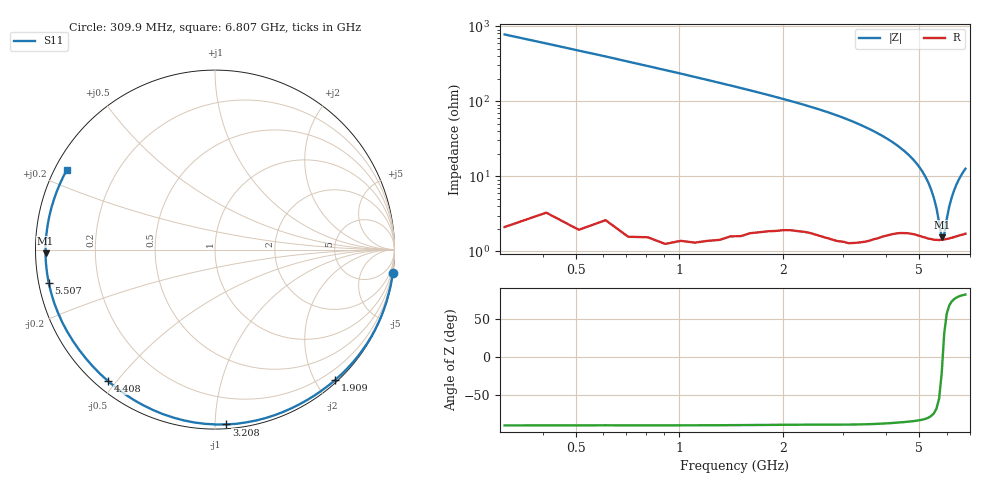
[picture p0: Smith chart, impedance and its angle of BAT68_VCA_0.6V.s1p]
! Infineon Technologies  Discrete & RF Semiconductors
! BAT68
! VCA = 0.6 V
! One-Port S-Parameters
# Hz  S  MA  R  50
!f  S11
!Hz  Mag  Ang
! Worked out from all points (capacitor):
!   66 points, 309.9 MHz to 6.807 GHz, reference 50 ohm
!   read as one part to ground: C = 657 fF near 309.9 MHz
!   lowest |Z| = 1.53 ohm at 5.807 GHz (marker M1)
!   series resonance near 5.845 GHz, so ESL is about 1.1 nH
!   S11 on the Smith chart (normalised r, x): 309.9 MHz: 0, -15; 1.909 GHz: 0.04, -2.28; 3.208 GHz: 0.03, -1.07; 4.408 GHz: 0.04, -0.48; 5.507 GHz: 0.03, -0.10; 6.807 GHz: 0.03, +0.25
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3.0985e8  0.9997 -7.4
5.0975e8  0.9991 -12.1
8.096e8  0.9983 -19.3
1.2094e9  0.9965 -29.2
1.6092e9  0.9921 -39.5
1.90905e9  0.988 -47.4
2.009e9  0.9863 -50.1
2.30885e9  0.9828 -58.4
2.50875e9  0.9815 -64.1
2.8086e9  0.98 -73.3
3.0085e9  0.9782 -79.6
3.2084e9  0.9761 -86.3
3.4083e9  0.9723 -93.2
3.6082e9  0.9675 -100.2
3.8081e9  0.9616 -107.4
4.008e9  0.955 -114.6
4.2079e9  0.9491 -121.9
4.4078e9  0.9444 -129.1
4.6077e9  0.9416 -136.4
4.8076e9  0.9407 -143.6
5.0075e9  0.9416 -150.8
5.2074e9  0.9429 -158.0
5.50725e9  0.9451 -168.6
5.8071e9  0.9445 -178.7
6.007e9  0.9433 174.8
6.2069e9  0.9416 168.7
6.4068e9  0.9398 162.8
6.8066e9  0.9375 151.9
